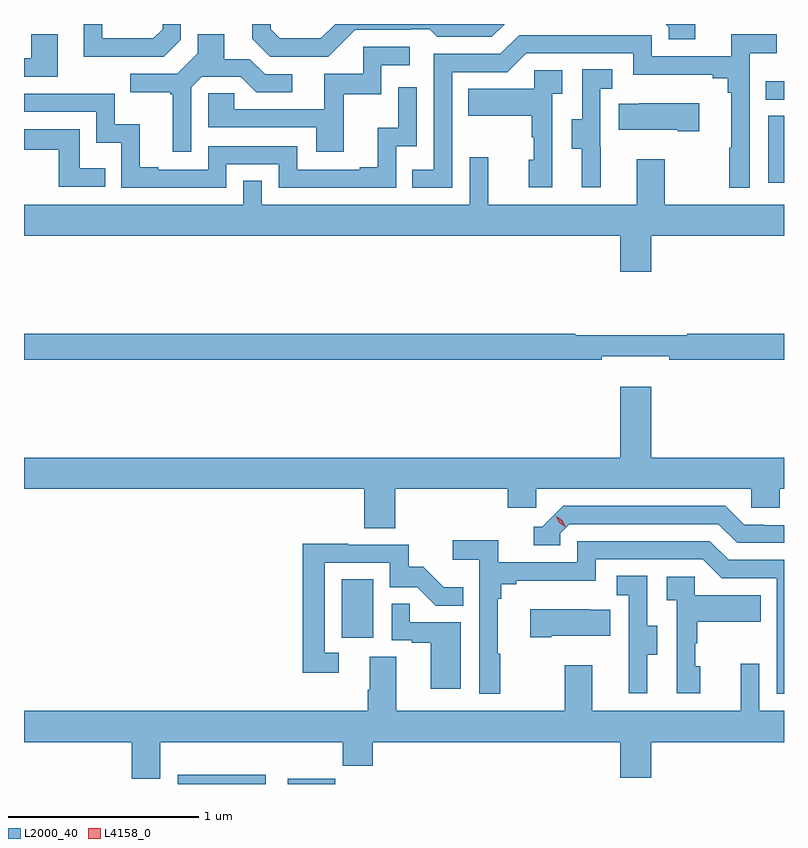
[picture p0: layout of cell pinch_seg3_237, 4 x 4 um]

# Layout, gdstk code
import gdstk
lib = gdstk.Library(unit=1e-6, precision=1e-09)
def R(c, l, rs):  # rectangles x0, y0, x1, y1
    for r in rs: c.add(gdstk.rectangle(r[:2], r[2:], *l))
def P(c, l, *ps):  # polygons
    for p in ps: c.add(gdstk.Polygon(p, *l))
L2000_40 = (2000, 40)
L4158_0 = (4158, 0)

pinch_seg3_237 = lib.new_cell('pinch_seg3_237')
R(pinch_seg3_237, L2000_40, [(905.936,736.659,906.4,736.708), (906.515,736.659,906.764,736.687), (906.8,737.43,906.964,737.737), (909.044,739.824,909.127,740.175), (909.031,740.26,909.127,740.359)])
P(pinch_seg3_237, L2000_40, [(906.87,740.628),(907.163,740.628),(907.163,740.631),(907.262,740.631),(907.301,740.592),(907.59,740.592),(907.657,740.659),(906.766,740.659),(906.69,740.583),(906.474,740.583),(906.426,740.631),(906.426,740.659),(906.329,740.659),(906.329,740.581),(906.423,740.487),(906.729,740.487)],
  [(905.646,740.487),(905.862,740.487),(905.952,740.577),(905.952,740.659),(905.856,740.659),(905.856,740.631),(905.808,740.583),(905.538,740.583),(905.538,740.659),(905.441,740.659),(905.441,740.486),(905.646,740.486)],
  [(908.659,740.659),(908.504,740.659),(908.52,740.643),(908.52,740.58),(908.659,740.58)],
  [(905.305,740.606),(905.165,740.606),(905.165,740.478),(905.127,740.478),(905.127,740.382),(905.305,740.382)],
  [(906.006,740.325),(906.063,740.382),(906.269,740.382),(906.35,740.301),(906.538,740.301),(906.538,740.394),(906.396,740.394),(906.316,740.474),(906.181,740.474),(906.181,740.606),(906.041,740.606),(906.041,740.504),(905.934,740.397),(905.685,740.397),(905.685,740.3),(905.898,740.3),(905.898,740.289),(905.909,740.289),(905.909,739.986),(906.006,739.986)],
  [(907.38,740.406),(907.671,740.406),(907.77,740.505),(908.334,740.505),(908.334,740.393),(908.753,740.393),(908.753,740.374),(908.83,740.374),(908.83,740.297),(908.849,740.297),(908.849,740.009),(908.838,740.009),(908.838,739.797),(908.946,739.797),(908.946,740.504),(909.088,740.504),(909.088,740.606),(908.849,740.606),(908.849,740.49),(908.43,740.49),(908.43,740.601),(907.733,740.601),(907.634,740.502),(907.284,740.502),(907.284,739.893),(907.171,739.893),(907.171,739.797),(907.38,739.797)],
  [(906.809,740.289),(907.008,740.289),(907.008,740.442),(907.156,740.442),(907.156,740.538),(906.912,740.538),(906.912,740.397),(906.707,740.397),(906.707,740.211),(906.233,740.211),(906.233,740.295),(906.096,740.295),(906.096,740.115),(906.665,740.115),(906.665,739.986),(906.809,739.986)],
  [(908.162,740.013),(908.16,740.013),(908.16,740.317),(908.224,740.317),(908.224,740.42),(908.064,740.42),(908.064,740.157),(908.009,740.157),(908.009,740.002),(908.063,740.002),(908.063,739.8),(908.162,739.8)],
  [(907.908,740.291),(907.96,740.291),(907.96,740.415),(907.812,740.415),(907.812,740.317),(907.465,740.317),(907.465,740.177),(907.8,740.177),(907.8,740.063),(907.81,740.063),(907.81,739.944),(907.784,739.944),(907.784,739.8),(907.908,739.8)],
  [(906.192,739.92),(906.468,739.92),(906.468,739.797),(907.086,739.797),(907.086,740.016),(907.194,740.016),(907.194,740.326),(907.098,740.326),(907.098,740.114),(906.989,740.114),(906.989,739.906),(906.893,739.906),(906.893,739.893),(906.564,739.893),(906.564,740.016),(906.096,740.016),(906.096,739.893),(905.833,739.893),(905.833,739.906),(905.737,739.906),(905.737,740.131),(905.604,740.131),(905.604,740.292),(905.127,740.292),(905.127,740.196),(905.508,740.196),(905.508,740.033),(905.64,740.033),(905.64,739.797),(906.192,739.797)],
  [(908.68,740.242),(908.365,740.242),(908.365,740.239),(908.257,740.239),(908.257,740.102),(908.567,740.102),(908.567,740.095),(908.68,740.095)],
  [(905.555,739.9),(905.421,739.9),(905.421,740.106),(905.127,740.106),(905.127,739.998),(905.31,739.998),(905.31,739.803),(905.555,739.803)],
  [(908.428,739.544),(909.127,739.544),(909.127,739.708),(908.499,739.708),(908.499,739.948),(908.351,739.948),(908.351,739.708),(907.571,739.708),(907.571,739.957),(907.473,739.957),(907.473,739.708),(906.378,739.708),(906.378,739.835),(906.282,739.835),(906.282,739.708),(905.127,739.708),(905.127,739.544),(908.264,739.544),(908.264,739.356),(908.428,739.356)],
  [(908.168,738.911),(908.524,738.911),(908.524,738.892),(909.127,738.892),(909.127,739.028),(908.618,739.028),(908.618,739.021),(908.027,739.021),(908.027,739.028),(905.127,739.028),(905.127,738.892),(908.168,738.892)],
  [(907.082,738.212),(907.673,738.212),(907.673,738.114),(907.824,738.114),(907.824,738.212),(908.955,738.212),(908.955,738.114),(909.105,738.114),(909.105,738.212),(909.127,738.212),(909.127,738.376),(908.428,738.376),(908.428,738.751),(908.264,738.751),(908.264,738.376),(905.127,738.376),(905.127,738.212),(906.917,738.212),(906.917,738.004),(907.082,738.004)],
  [(907.95,737.979),(907.998,738.027),(908.781,738.027),(908.88,737.928),(909.127,737.928),(909.127,738.021),(909.024,738.021),(909.024,738.024),(908.917,738.024),(908.818,738.123),(907.965,738.123),(907.854,738.012),(907.811,738.012),(907.811,737.916),(907.95,737.916)],
  [(907.633,737.345),(907.621,737.345),(907.621,737.633),(907.64,737.633),(907.64,737.71),(907.717,737.71),(907.717,737.729),(908.136,737.729),(908.136,737.841),(908.7,737.841),(908.799,737.742),(909.09,737.742),(909.09,737.133),(909.127,737.133),(909.127,737.838),(908.836,737.838),(908.737,737.937),(908.04,737.937),(908.04,737.826),(907.622,737.826),(907.622,737.942),(907.383,737.942),(907.383,737.84),(907.524,737.84),(907.524,737.133),(907.633,737.133)],
  [(906.784,737.349),(906.711,737.349),(906.711,737.823),(907.053,737.823),(907.053,737.694),(907.197,737.694),(907.295,737.596),(907.439,737.596),(907.439,737.695),(907.335,737.695),(907.228,737.802),(907.152,737.802),(907.152,737.919),(906.833,737.919),(906.833,737.924),(906.595,737.924),(906.595,737.244),(906.784,737.244)],
  [(908.407,737.338),(908.461,737.338),(908.461,737.493),(908.406,737.493),(908.406,737.756),(908.247,737.756),(908.247,737.653),(908.31,737.653),(908.31,737.349),(908.309,737.349),(908.309,737.136),(908.407,737.136)],
  [(908.686,737.28),(908.661,737.28),(908.661,737.399),(908.671,737.399),(908.671,737.513),(909.005,737.513),(909.005,737.653),(908.658,737.653),(908.658,737.751),(908.511,737.751),(908.511,737.627),(908.562,737.627),(908.562,737.136),(908.686,737.136)],
  [(907.426,737.511),(907.157,737.511),(907.157,737.609),(907.062,737.609),(907.062,737.415),(907.169,737.415),(907.169,737.403),(907.268,737.403),(907.268,737.16),(907.426,737.16)],
  [(907.903,737.438),(908.213,737.438),(908.213,737.575),(908.105,737.575),(908.105,737.578),(907.791,737.578),(907.791,737.431),(907.903,737.431)],
  [(905.845,736.88),(906.805,736.88),(906.805,736.756),(906.962,736.756),(906.962,736.88),(908.264,736.88),(908.264,736.692),(908.428,736.692),(908.428,736.88),(909.127,736.88),(909.127,737.044),(908.997,737.044),(908.997,737.293),(908.9,737.293),(908.9,737.044),(908.119,737.044),(908.119,737.284),(907.972,737.284),(907.972,737.044),(907.087,737.044),(907.087,737.33),(906.947,737.33),(906.947,737.156),(906.935,737.156),(906.935,737.044),(905.127,737.044),(905.127,736.88),(905.693,736.88),(905.693,736.686),(905.845,736.686)])
P(pinch_seg3_237, L4158_0, [(907.976,738.014),(907.945,738.034),(907.929,738.067),(907.929,738.067),(907.929,738.067),(907.96,738.047),(907.976,738.014),(907.976,738.014)])

lib.write_gds('pinch_seg3_237.gds')
